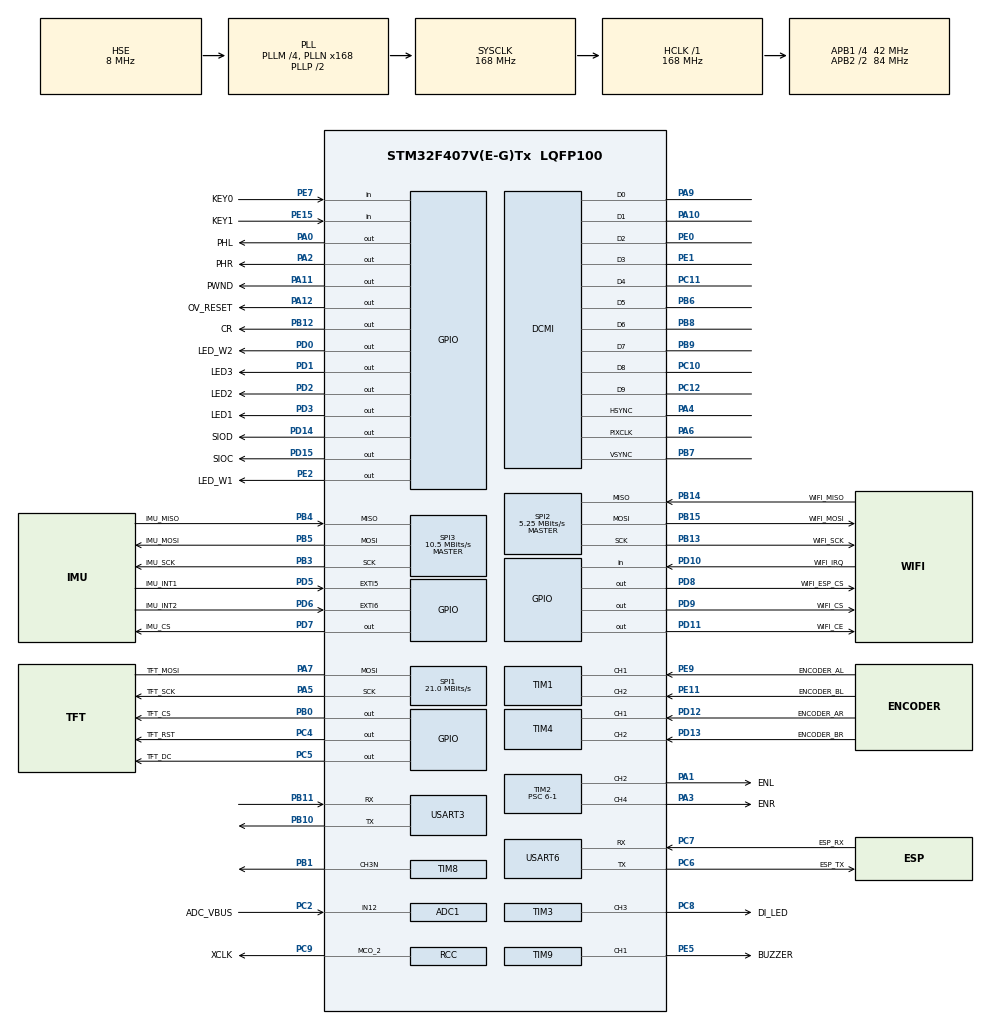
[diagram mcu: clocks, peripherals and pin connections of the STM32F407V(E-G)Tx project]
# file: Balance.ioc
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ADC1.Channel-2\#ChannelRegularConversion=ADC_CHANNEL_12
ADC1.Channel-5\#ChannelRegularConversion=ADC_CHANNEL_TEMPSENSOR
ADC1.DMAContinuousRequests=ENABLE
ADC1.EOCSelection=ADC_EOC_SINGLE_CONV
ADC1.ExternalTrigConv=ADC_EXTERNALTRIGCONV_T8_TRGO
ADC1.InjNumberOfConversion=0
ADC1.NbrOfConversion=2
ADC1.NbrOfConversionFlag=1
ADC1.Rank-2\#ChannelRegularConversion=1
ADC1.Rank-5\#ChannelRegularConversion=2
ADC1.SamplingTime-2\#ChannelRegularConversion=ADC_SAMPLETIME_15CYCLES
ADC1.SamplingTime-5\#ChannelRegularConversion=ADC_SAMPLETIME_480CYCLES
ADC1.master=1
DCMI.HSPolarity=DCMI_HSPOLARITY_HIGH
DCMI.VSPolarity=DCMI_VSPOLARITY_HIGH
Dma.ADC1.3.Direction=DMA_PERIPH_TO_MEMORY
Dma.ADC1.3.FIFOMode=DMA_FIFOMODE_DISABLE
Dma.ADC1.3.Instance=DMA2_Stream0
Dma.ADC1.3.MemDataAlignment=DMA_MDATAALIGN_HALFWORD
Dma.ADC1.3.MemInc=DMA_MINC_ENABLE
Dma.ADC1.3.Mode=DMA_CIRCULAR
Dma.ADC1.3.PeriphDataAlignment=DMA_PDATAALIGN_HALFWORD
Dma.ADC1.3.PeriphInc=DMA_PINC_DISABLE
Dma.ADC1.3.Priority=DMA_PRIORITY_MEDIUM
Dma.DCMI.2.Direction=DMA_PERIPH_TO_MEMORY
Dma.DCMI.2.FIFOMode=DMA_FIFOMODE_DISABLE
Dma.DCMI.2.Instance=DMA2_Stream1
Dma.DCMI.2.MemDataAlignment=DMA_MDATAALIGN_WORD
Dma.DCMI.2.MemInc=DMA_MINC_ENABLE
Dma.DCMI.2.Mode=DMA_CIRCULAR
Dma.DCMI.2.PeriphDataAlignment=DMA_PDATAALIGN_WORD
Dma.DCMI.2.PeriphInc=DMA_PINC_DISABLE
Dma.DCMI.2.Priority=DMA_PRIORITY_HIGH
Dma.Request0=TIM3_CH3
Dma.Request1=SPI1_TX
Dma.Request2=DCMI
Dma.Request3=ADC1
Dma.Request4=USART3_TX
Dma.SPI1_TX.1.Direction=DMA_MEMORY_TO_PERIPH
Dma.SPI1_TX.1.FIFOMode=DMA_FIFOMODE_DISABLE
Dma.SPI1_TX.1.Instance=DMA2_Stream3
Dma.SPI1_TX.1.MemDataAlignment=DMA_MDATAALIGN_BYTE
Dma.SPI1_TX.1.MemInc=DMA_MINC_ENABLE
Dma.SPI1_TX.1.Mode=DMA_NORMAL
Dma.SPI1_TX.1.PeriphDataAlignment=DMA_PDATAALIGN_BYTE
Dma.SPI1_TX.1.PeriphInc=DMA_PINC_DISABLE
Dma.SPI1_TX.1.Priority=DMA_PRIORITY_MEDIUM
Dma.TIM3_CH3.0.Direction=DMA_MEMORY_TO_PERIPH
Dma.TIM3_CH3.0.FIFOMode=DMA_FIFOMODE_DISABLE
Dma.TIM3_CH3.0.Instance=DMA1_Stream7
Dma.TIM3_CH3.0.MemDataAlignment=DMA_MDATAALIGN_HALFWORD
Dma.TIM3_CH3.0.MemInc=DMA_MINC_ENABLE
Dma.TIM3_CH3.0.Mode=DMA_NORMAL
Dma.TIM3_CH3.0.PeriphDataAlignment=DMA_PDATAALIGN_HALFWORD
Dma.TIM3_CH3.0.PeriphInc=DMA_PINC_DISABLE
Dma.TIM3_CH3.0.Priority=DMA_PRIORITY_LOW
Dma.USART3_TX.4.Direction=DMA_MEMORY_TO_PERIPH
Dma.USART3_TX.4.FIFOMode=DMA_FIFOMODE_DISABLE
Dma.USART3_TX.4.Instance=DMA1_Stream3
Dma.USART3_TX.4.MemDataAlignment=DMA_MDATAALIGN_BYTE
Dma.USART3_TX.4.MemInc=DMA_MINC_ENABLE
Dma.USART3_TX.4.Mode=DMA_NORMAL
Dma.USART3_TX.4.PeriphDataAlignment=DMA_PDATAALIGN_BYTE
Dma.USART3_TX.4.PeriphInc=DMA_PINC_DISABLE
Dma.USART3_TX.4.Priority=DMA_PRIORITY_LOW
Mcu.Family=STM32F4
Mcu.Name=STM32F407V(E-G)Tx
Mcu.Package=LQFP100
NVIC.DCMI_IRQn=true\:4\:0\:true\:false\:true\:true\:true\:true
NVIC.DMA1_Stream3_IRQn=true\:0\:0\:false\:false\:true\:false\:true\:true
NVIC.DMA1_Stream7_IRQn=true\:5\:0\:true\:false\:true\:false\:true\:true
NVIC.DMA2_Stream0_IRQn=true\:3\:0\:true\:false\:true\:false\:true\:true
NVIC.DMA2_Stream1_IRQn=true\:2\:0\:true\:false\:true\:false\:true\:true
NVIC.DMA2_Stream3_IRQn=true\:4\:0\:true\:false\:true\:false\:true\:true
NVIC.EXTI9_5_IRQn=true\:5\:0\:true\:false\:true\:true\:true\:true
NVIC.PriorityGroup=NVIC_PRIORITYGROUP_4
NVIC.SPI1_IRQn=true\:8\:0\:true\:false\:true\:true\:true\:true
NVIC.TIM5_IRQn=true\:3\:0\:true\:false\:true\:true\:true\:true
NVIC.TIM6_DAC_IRQn=true\:2\:0\:true\:false\:true\:true\:true\:true
NVIC.TIM7_IRQn=true\:1\:0\:true\:false\:true\:true\:true\:true
NVIC.USART3_IRQn=true\:3\:0\:true\:false\:true\:true\:true\:true
PA0-WKUP.GPIO_Label=PHL
PA0-WKUP.Signal=GPIO_Output
PA1.GPIO_Label=ENL
PA1.Signal=S_TIM2_CH2
PA10.Mode=Slave_10_bits_External_Synchro
PA10.Signal=DCMI_D1
PA11.GPIO_Label=PWND
PA11.Signal=GPIO_Output
PA12.GPIO_Label=OV_RESET
PA12.Signal=GPIO_Output
PA13.Mode=Serial_Wire
PA13.Signal=SYS_JTMS-SWDIO
PA14.Mode=Serial_Wire
PA14.Signal=SYS_JTCK-SWCLK
PA2.GPIO_Label=PHR
PA2.Signal=GPIO_Output
PA3.GPIO_Label=ENR
PA3.Signal=S_TIM2_CH4
PA4.Mode=Slave_10_bits_External_Synchro
PA4.Signal=DCMI_HSYNC
PA5.GPIO_Label=TFT_SCK
PA5.Mode=Simplex_Bidirectional_Master
PA5.Signal=SPI1_SCK
PA6.Mode=Slave_10_bits_External_Synchro
PA6.Signal=DCMI_PIXCLK
PA7.GPIO_Label=TFT_MOSI
PA7.Mode=Simplex_Bidirectional_Master
PA7.Signal=SPI1_MOSI
PA9.Mode=Slave_10_bits_External_Synchro
PA9.Signal=DCMI_D0
PB0.GPIO_Label=TFT_CS
PB0.GPIO_Speed=GPIO_SPEED_FREQ_HIGH
PB0.PinState=GPIO_PIN_SET
PB0.Signal=GPIO_Output
PB1.Mode=PWM Generation3 CH3N
PB1.Signal=TIM8_CH3N
PB10.Mode=Asynchronous
PB10.Signal=USART3_TX
PB11.Mode=Asynchronous
PB11.Signal=USART3_RX
PB12.GPIO_Label=CR
PB12.Signal=GPIO_Output
PB13.GPIO_Label=WIFI_SCK
PB13.Mode=Full_Duplex_Master
PB13.Signal=SPI2_SCK
PB14.GPIO_Label=WIFI_MISO
PB14.Mode=Full_Duplex_Master
PB14.Signal=SPI2_MISO
PB15.GPIO_Label=WIFI_MOSI
PB15.Mode=Full_Duplex_Master
PB15.Signal=SPI2_MOSI
PB3.GPIO_Label=IMU_SCK
PB3.Mode=Full_Duplex_Master
PB3.Signal=SPI3_SCK
PB4.GPIO_Label=IMU_MISO
PB4.Mode=Full_Duplex_Master
PB4.Signal=SPI3_MISO
PB5.GPIO_Label=IMU_MOSI
PB5.Mode=Full_Duplex_Master
PB5.Signal=SPI3_MOSI
PB6.Mode=Slave_10_bits_External_Synchro
PB6.Signal=DCMI_D5
PB7.Mode=Slave_10_bits_External_Synchro
PB7.Signal=DCMI_VSYNC
PB8.Mode=Slave_10_bits_External_Synchro
PB8.Signal=DCMI_D6
PB9.Mode=Slave_10_bits_External_Synchro
PB9.Signal=DCMI_D7
PC10.Mode=Slave_10_bits_External_Synchro
PC10.Signal=DCMI_D8
PC11.Mode=Slave_10_bits_External_Synchro
PC11.Signal=DCMI_D4
PC12.Mode=Slave_10_bits_External_Synchro
PC12.Signal=DCMI_D9
PC2.GPIO_Label=ADC_VBUS
PC2.Signal=ADCx_IN12
PC4.GPIO_Label=TFT_RST
PC4.Signal=GPIO_Output
PC5.GPIO_Label=TFT_DC
PC5.Signal=GPIO_Output
PC6.GPIO_Label=ESP_TX
PC6.Mode=Asynchronous
PC6.Signal=USART6_TX
PC7.GPIO_Label=ESP_RX
PC7.Mode=Asynchronous
PC7.Signal=USART6_RX
PC8.GPIO_Label=DI_LED
PC8.GPIO_Speed=GPIO_SPEED_FREQ_HIGH
PC8.Signal=S_TIM3_CH3
PC9.GPIO_Label=XCLK
PC9.GPIO_Speed=GPIO_SPEED_FREQ_VERY_HIGH
PC9.Mode=Clock-out-2
PC9.Signal=RCC_MCO_2
PD0.GPIO_Label=LED_W2
PD0.Signal=GPIO_Output
PD1.GPIO_Label=LED3
PD1.PinState=GPIO_PIN_SET
PD1.Signal=GPIO_Output
PD10.GPIO_Label=WIFI_IRQ
PD10.Signal=GPIO_Input
PD11.GPIO_Label=WIFI_CE
PD11.Signal=GPIO_Output
PD12.GPIO_Label=ENCODER_AR
PD12.Signal=S_TIM4_CH1
PD13.GPIO_Label=ENCODER_BR
PD13.Signal=S_TIM4_CH2
PD14.GPIO_Label=SIOD
PD14.GPIO_ModeDefaultOutputPP=GPIO_MODE_OUTPUT_OD
PD14.GPIO_PuPd=GPIO_PULLUP
PD14.GPIO_Speed=GPIO_SPEED_FREQ_MEDIUM
PD14.Signal=GPIO_Output
PD15.GPIO_Label=SIOC
PD15.GPIO_ModeDefaultOutputPP=GPIO_MODE_OUTPUT_OD
PD15.GPIO_PuPd=GPIO_PULLUP
PD15.GPIO_Speed=GPIO_SPEED_FREQ_MEDIUM
PD15.Signal=GPIO_Output
PD2.GPIO_Label=LED2
PD2.PinState=GPIO_PIN_SET
PD2.Signal=GPIO_Output
PD3.GPIO_Label=LED1
PD3.PinState=GPIO_PIN_SET
PD3.Signal=GPIO_Output
PD5.GPIO_Label=IMU_INT1
PD5.Signal=GPXTI5
PD6.GPIO_Label=IMU_INT2
PD6.Signal=GPXTI6
PD7.GPIO_Label=IMU_CS
PD7.GPIO_Speed=GPIO_SPEED_FREQ_HIGH
PD7.PinState=GPIO_PIN_SET
PD7.Signal=GPIO_Output
PD8.GPIO_Label=WIFI_ESP_CS
PD8.GPIO_Speed=GPIO_SPEED_FREQ_HIGH
PD8.PinState=GPIO_PIN_SET
PD8.Signal=GPIO_Output
PD9.GPIO_Label=WIFI_CS
PD9.GPIO_Speed=GPIO_SPEED_FREQ_HIGH
PD9.PinState=GPIO_PIN_SET
PD9.Signal=GPIO_Output
PE0.Mode=Slave_10_bits_External_Synchro
PE0.Signal=DCMI_D2
PE1.Mode=Slave_10_bits_External_Synchro
PE1.Signal=DCMI_D3
PE11.GPIO_Label=ENCODER_BL
PE11.Signal=S_TIM1_CH2
PE15.GPIO_Label=KEY1
PE15.Signal=GPIO_Input
PE2.GPIO_Label=LED_W1
PE2.Signal=GPIO_Output
PE5.GPIO_Label=BUZZER
PE5.Signal=S_TIM9_CH1
PE7.GPIO_Label=KEY0
PE7.Signal=GPIO_Input
PE9.GPIO_Label=ENCODER_AL
PE9.Signal=S_TIM1_CH1
PH0-OSC_IN.Mode=HSE-External-Oscillator
PH0-OSC_IN.Signal=RCC_OSC_IN
PH1-OSC_OUT.Mode=HSE-External-Oscillator
PH1-OSC_OUT.Signal=RCC_OSC_OUT
ProjectManager.HeapSize=0x200
ProjectManager.StackSize=0x400
ProjectManager.TargetToolchain=CMake
RCC.48MHZClocksFreq_Value=84000000
RCC.AHBFreq_Value=168000000
RCC.APB1CLKDivider=RCC_HCLK_DIV4
RCC.APB1Freq_Value=42000000
RCC.APB1TimFreq_Value=84000000
RCC.APB2CLKDivider=RCC_HCLK_DIV2
RCC.APB2Freq_Value=84000000
RCC.APB2TimFreq_Value=168000000
RCC.CortexFreq_Value=168000000
RCC.HCLKFreq_Value=168000000
RCC.HSE_VALUE=8000000
RCC.HSI_VALUE=16000000
RCC.LSE_VALUE=32768
RCC.PLLI2SN=120
RCC.PLLM=4
RCC.PLLN=168
RCC.PLLSourceVirtual=RCC_PLLSOURCE_HSE
RCC.RCC_MCO1Source=RCC_MCO1SOURCE_PLLCLK
RCC.RCC_MCO2Source=RCC_MCO2SOURCE_PLLI2SCLK
RCC.RCC_MCODiv1=RCC_MCODIV_5
RCC.RCC_MCODiv2=RCC_MCODIV_5
RCC.SYSCLKFreq_VALUE=168000000
RCC.SYSCLKSource=RCC_SYSCLKSOURCE_PLLCLK
RCC.VCOOutputFreq_Value=336000000
SH.ADCx_IN12.0=ADC1_IN12,IN12
SH.S_TIM1_CH1.0=TIM1_CH1,Encoder_Interface
SH.S_TIM1_CH2.0=TIM1_CH2,Encoder_Interface
SH.S_TIM2_CH2.0=TIM2_CH2,PWM Generation2 CH2
SH.S_TIM2_CH4.0=TIM2_CH4,PWM Generation4 CH4
SH.S_TIM3_CH3.0=TIM3_CH3,PWM Generation3 CH3
SH.S_TIM4_CH1.0=TIM4_CH1,Encoder_Interface
SH.S_TIM4_CH2.0=TIM4_CH2,Encoder_Interface
SH.S_TIM9_CH1.0=TIM9_CH1,PWM Generation1 CH1
SPI1.BaudRatePrescaler=SPI_BAUDRATEPRESCALER_4
SPI1.CLKPhase=SPI_PHASE_1EDGE
SPI1.CLKPolarity=SPI_POLARITY_LOW
SPI1.CalculateBaudRate=21.0 MBits/s
SPI1.Direction=SPI_DIRECTION_1LINE
SPI1.Mode=SPI_MODE_MASTER
SPI1.VirtualType=VM_MASTER
SPI2.BaudRatePrescaler=SPI_BAUDRATEPRESCALER_8
SPI2.CalculateBaudRate=5.25 MBits/s
SPI2.Direction=SPI_DIRECTION_2LINES
SPI2.Mode=SPI_MODE_MASTER
SPI2.VirtualType=VM_MASTER
SPI3.BaudRatePrescaler=SPI_BAUDRATEPRESCALER_4
SPI3.CLKPhase=SPI_PHASE_2EDGE
SPI3.CLKPolarity=SPI_POLARITY_HIGH
SPI3.CalculateBaudRate=10.5 MBits/s
SPI3.Direction=SPI_DIRECTION_2LINES
SPI3.Mode=SPI_MODE_MASTER
SPI3.VirtualType=VM_MASTER
TIM1.EncoderMode=TIM_ENCODERMODE_TI12
TIM1.IC1Filter=0
TIM1.IC2Filter=0
TIM2.AutoReloadPreload=TIM_AUTORELOAD_PRELOAD_ENABLE
TIM2.Channel-PWM\ Generation2\ CH2=TIM_CHANNEL_2
TIM2.Channel-PWM\ Generation4\ CH4=TIM_CHANNEL_4
TIM2.Period=1000-1
TIM2.Prescaler=6-1
TIM3.AutoReloadPreload=TIM_AUTORELOAD_PRELOAD_ENABLE
TIM3.Channel-PWM\ Generation3\ CH3=TIM_CHANNEL_3
TIM3.Period=105-1
TIM4.AutoReloadPreload=TIM_AUTORELOAD_PRELOAD_DISABLE
TIM4.EncoderMode=TIM_ENCODERMODE_TI12
TIM4.IC1Filter=0
TIM4.IC2Filter=3
TIM5.AutoReloadPreload=TIM_AUTORELOAD_PRELOAD_ENABLE
TIM5.CounterMode=TIM_COUNTERMODE_CENTERALIGNED1
TIM5.Period=100
TIM5.Prescaler=840-1
TIM5.TIM_MasterOutputTrigger=TIM_TRGO_RESET
TIM6.AutoReloadPreload=TIM_AUTORELOAD_PRELOAD_ENABLE
TIM6.Period=200-1
TIM6.Prescaler=840-1
TIM7.AutoReloadPreload=TIM_AUTORELOAD_PRELOAD_ENABLE
TIM7.Period=100-1
TIM7.Prescaler=840-1
TIM8.AutoReloadPreload=TIM_AUTORELOAD_PRELOAD_ENABLE
TIM8.Channel-PWM\ Generation3\ CH3N=TIM_CHANNEL_3
TIM8.OCNPolarity_3=TIM_OCNPOLARITY_LOW
TIM8.Period=100-1
TIM8.Prescaler=420-1
TIM8.TIM_MasterOutputTrigger=TIM_TRGO_UPDATE
TIM9.AutoReloadPreload=TIM_AUTORELOAD_PRELOAD_ENABLE
TIM9.Channel-PWM\ Generation1\ CH1=TIM_CHANNEL_1
TIM9.Period=1000
TIM9.Prescaler=168-1
USART3.VirtualMode=VM_ASYNC
USART6.VirtualMode=VM_ASYNC
VP_ADC1_TempSens_Input.Mode=IN-TempSens
VP_TIM2_VS_ClockSourceINT.Mode=Internal
VP_TIM3_VS_ClockSourceINT.Mode=Internal
VP_TIM5_VS_ClockSourceINT.Mode=Internal
VP_TIM6_VS_ClockSourceINT.Mode=Enable_Timer
VP_TIM7_VS_ClockSourceINT.Mode=Enable_Timer
VP_TIM8_VS_ClockSourceINT.Mode=Internal
VP_TIM9_VS_ClockSourceINT.Mode=Internal
board=custom

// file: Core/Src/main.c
/* USER CODE BEGIN Header */
/**
  ******************************************************************************
  * @file           : main.c
  * @brief          : Main program body
  ******************************************************************************
  * @attention
  *
  * Copyright (c) 2026 STMicroelectronics.
  * All rights reserved.
  *
  * This software is licensed under terms that can be found in the LICENSE file
  * in the root directory of this software component.
  * If no LICENSE file comes with this software, it is provided AS-IS.
  *
  ******************************************************************************
  */
/* USER CODE END Header */
#include "main.h"
#include "adc.h"
#include "dcmi.h"
#include "dma.h"
#include "spi.h"
#include "tim.h"
#include "usart.h"
#include "gpio.h"

/* USER CODE BEGIN Includes */
#include "KK_UI_App.h"
#include "LED.h"
#include "TFT_Display.h"
#include "imu.h"
#include "Attitude.h"
#include "UIAttitude.h"
#include "encoder.h"
#include "event.h"
#include "key.h"
#include "motor.h"
#include "uart.h"
#include "Analog.h"
#include "Buzzer.h"
#include "Control.h"
#include "Monitor.h"
#include "LightShow.h"

/* USER CODE END Includes */

void SystemClock_Config(void);
void PeriphCommonClock_Config(void);

int main(void)
{

  /* MCU Configuration--------------------------------------------------------*/

  /* Reset of all peripherals, Initializes the Flash interface and the Systick. */
  HAL_Init();

  /* Configure the system clock */
  SystemClock_Config();

  /* Configure the peripherals common clocks */
  PeriphCommonClock_Config();

  /* Initialize all configured peripherals */
  MX_GPIO_Init();
  MX_DMA_Init();
  MX_SPI1_Init();
  MX_SPI2_Init();
  MX_SPI3_Init();
  MX_DCMI_Init();
  MX_TIM1_Init();
  MX_TIM2_Init();
  MX_TIM4_Init();
  MX_USART3_UART_Init();
  MX_ADC1_Init();
  MX_TIM3_Init();
  MX_TIM9_Init();
  MX_USART6_UART_Init();
  MX_TIM6_Init();
  MX_TIM5_Init();
  MX_TIM8_Init();
  MX_TIM7_Init();
  /* USER CODE BEGIN 2 */

  HAL_GPIO_WritePin(CR_GPIO_Port, CR_Pin, GPIO_PIN_SET);
  TFT_DisplayInit();
  event_init();
  Analog_Init();
  encoder_init();
  motor_init();
  buzzer_init();
  DI_ALL_LED(0, 10, 10);

  imu_init();
  Attitude_Init();  /* 零偏标定，必须在 imu_init() 之后 */
  buzzer_startup_tone();  /* 上电自检音：放标定之后，避免振动干扰零偏 */
  UIAttitude_Init();/* 界面姿态：只启用 DWT 周期计数，标定在进入姿态页时做 */
  Control_Init();  /* PID/LQR 控制器：只清零，参数在进入控制页时加载 */
  Monitor_Init();  /* 观测层：按 MONITOR_OUT_* 打开各出口 */
  LightShow_Init();/* 表演层：直立时自动循环灯光+旋律 */

  /* USER CODE END 2 */

  /* Infinite loop */
  /* USER CODE BEGIN WHILE */
  while (1)
  {
    //TFT屏幕
    if (TFT_DisplaySync())
    {
      KK_UI_AppUpdate();
    }

    //IMU：中断只置标志，读在这里
    imu_service();

    //观测：内部限频，没到点立即返回
    Monitor_Update();

    //表演：直立自动循环灯光秀+旋律，停车熄灭
    LightShow_Update();

    /* USER CODE END WHILE */

  }
}

void SystemClock_Config(void)
{
  RCC_OscInitTypeDef RCC_OscInitStruct = {0};
  RCC_ClkInitTypeDef RCC_ClkInitStruct = {0};

  /** Configure the main internal regulator output voltage
  */
  __HAL_RCC_PWR_CLK_ENABLE();
  __HAL_PWR_VOLTAGESCALING_CONFIG(PWR_REGULATOR_VOLTAGE_SCALE1);

  /** Initializes the RCC Oscillators according to the specified parameters
  * in the RCC_OscInitTypeDef structure.
  */
  RCC_OscInitStruct.OscillatorType = RCC_OSCILLATORTYPE_HSE;
  RCC_OscInitStruct.HSEState = RCC_HSE_ON;
  RCC_OscInitStruct.PLL.PLLState = RCC_PLL_ON;
  RCC_OscInitStruct.PLL.PLLSource = RCC_PLLSOURCE_HSE;
  RCC_OscInitStruct.PLL.PLLM = 4;
  RCC_OscInitStruct.PLL.PLLN = 168;
  RCC_OscInitStruct.PLL.PLLP = RCC_PLLP_DIV2;
  RCC_OscInitStruct.PLL.PLLQ = 4;
  if (HAL_RCC_OscConfig(&RCC_OscInitStruct) != HAL_OK)
  {
    Error_Handler();
  }

  /** Initializes the CPU, AHB and APB buses clocks
  */
  RCC_ClkInitStruct.ClockType = RCC_CLOCKTYPE_HCLK|RCC_CLOCKTYPE_SYSCLK
                              |RCC_CLOCKTYPE_PCLK1|RCC_CLOCKTYPE_PCLK2;
  RCC_ClkInitStruct.SYSCLKSource = RCC_SYSCLKSOURCE_PLLCLK;
  RCC_ClkInitStruct.AHBCLKDivider = RCC_SYSCLK_DIV1;
  RCC_ClkInitStruct.APB1CLKDivider = RCC_HCLK_DIV4;
  RCC_ClkInitStruct.APB2CLKDivider = RCC_HCLK_DIV2;

  if (HAL_RCC_ClockConfig(&RCC_ClkInitStruct, FLASH_LATENCY_5) != HAL_OK)
  {
    Error_Handler();
  }
  HAL_RCC_MCOConfig(RCC_MCO2, RCC_MCO2SOURCE_PLLI2SCLK, RCC_MCODIV_5);
}

void PeriphCommonClock_Config(void)
{
  RCC_PeriphCLKInitTypeDef PeriphClkInitStruct = {0};

  /** Initializes the peripherals clock
  */
  PeriphClkInitStruct.PeriphClockSelection = RCC_PERIPHCLK_PLLI2S;
  PeriphClkInitStruct.PLLI2S.PLLI2SN = 120;
  PeriphClkInitStruct.PLLI2S.PLLI2SR = 2;
  if (HAL_RCCEx_PeriphCLKConfig(&PeriphClkInitStruct) != HAL_OK)
  {
    Error_Handler();
  }
}

void Error_Handler(void)
{
  __disable_irq();
  while (1)
  {
  }
}
